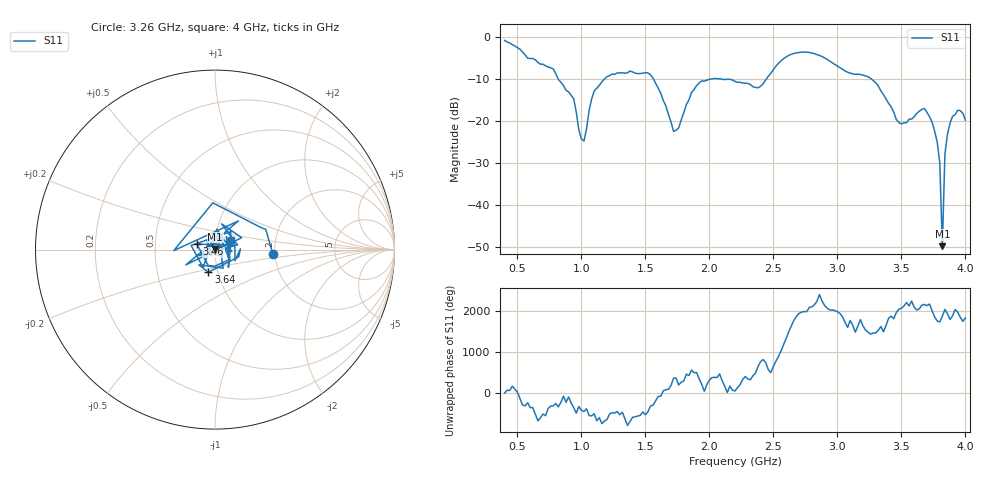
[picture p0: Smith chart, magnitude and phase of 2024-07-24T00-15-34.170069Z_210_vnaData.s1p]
!Created with skrf (http://scikit-rf.org).
# Hz S RI R 50.0
!freq ReS11 ImS11
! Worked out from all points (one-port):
!   181 points, 400 MHz to 4 GHz, reference 50 ohm
!   lowest |S11| = -49.7 dB at 3.82 GHz (marker M1), VSWR 1.01, Z = 50.1 + j0.313 ohm
!   |S11| at or under -10 dB: 819.2 MHz to 1.179 GHz (359.7 MHz wide, 36 % of centre); 1.564 GHz to 2.003 GHz (438.6 MHz wide, 24.6 % of centre); 3.267 GHz to end of sweep (the widest 3 of 4)
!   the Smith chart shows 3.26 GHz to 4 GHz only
!   S11 on the Smith chart (normalised r, x): 3.26 GHz: 1.94, -0.10; 3.46 GHz: 0.82, +0.05; 3.64 GHz: 0.90, -0.23; 4 GHz: 1.19, +0.13
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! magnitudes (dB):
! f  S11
! 400 MHz  -0.8
! 780 MHz  -7.6
! 860 MHz  -11.5
! 940 MHz  -14.7
! 980 MHz  -22.1
! 1.02 GHz  -24.7
! 1.1 GHz  -12.8
! 1.3 GHz  -8.5
! 1.54 GHz  -9.0
! 1.72 GHz  -22.4
! 1.76 GHz  -21.6
! 1.92 GHz  -10.9
! 2.2 GHz  -10.5
! 2.38 GHz  -12.1
! 2.66 GHz  -3.9
! 3.1 GHz  -8.5
! 3.26 GHz  -9.8
! 3.46 GHz  -19.6
! 3.56 GHz  -19.5
! 3.64 GHz  -17.6
! 3.7 GHz  -17.9
! 3.78 GHz  -25.0
! 3.8 GHz  -30.0
! 3.82 GHz  -49.7
! 3.84 GHz  -27.8
! 3.86 GHz  -23.1
! 3.94 GHz  -17.4
! 4 GHz  -19.7
